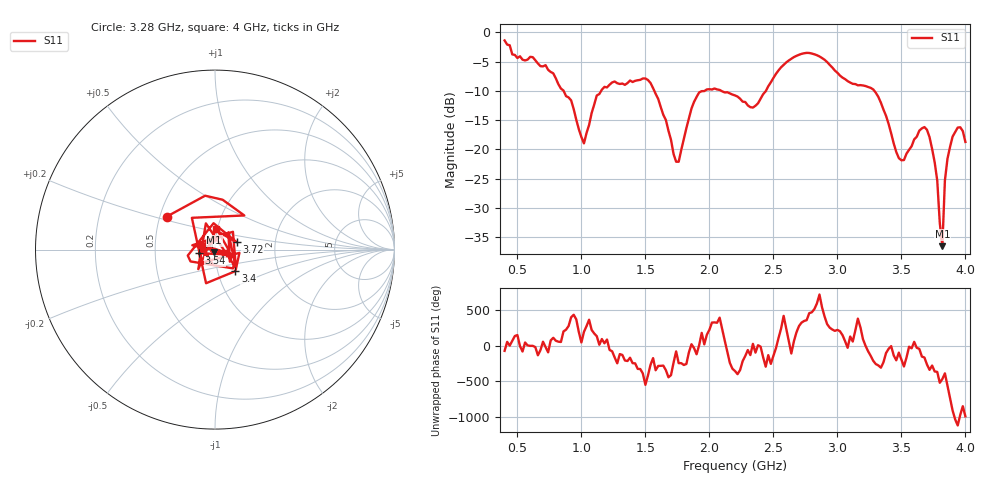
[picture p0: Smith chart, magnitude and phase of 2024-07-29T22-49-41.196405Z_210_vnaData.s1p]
!Created with skrf (http://scikit-rf.org).
# Hz S RI R 50.0
!freq ReS11 ImS11
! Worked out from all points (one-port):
!   181 points, 400 MHz to 4 GHz, reference 50 ohm
!   lowest |S11| = -36.5 dB at 3.82 GHz (marker M1), VSWR 1.03, Z = 49.5 - j1.39 ohm
!   |S11| at or under -10 dB: 1.57 GHz to 1.962 GHz (392.1 MHz wide, 22.2 % of centre); 2.094 GHz to 2.441 GHz (347 MHz wide, 15.3 % of centre); 3.289 GHz to end of sweep (the widest 3 of 4)
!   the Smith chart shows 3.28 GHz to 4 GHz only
!   S11 on the Smith chart (normalised r, x): 3.28 GHz: 0.54, +0.22; 3.4 GHz: 1.22, -0.30; 3.54 GHz: 0.83, -0.03; 3.72 GHz: 1.27, +0.11; 4 GHz: 0.99, +0.23
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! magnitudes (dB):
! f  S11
! 400 MHz  -1.4
! 720 MHz  -5.6
! 860 MHz  -9.9
! 920 MHz  -11.6
! 1.02 GHz  -19.0
! 1.12 GHz  -10.8
! 1.3 GHz  -8.8
! 1.54 GHz  -8.6
! 1.76 GHz  -22.1
! 1.92 GHz  -10.3
! 2.2 GHz  -10.8
! 2.34 GHz  -12.8
! 2.66 GHz  -4.2
! 2.84 GHz  -3.9
! 3.1 GHz  -8.6
! 3.28 GHz  -9.7
! 3.4 GHz  -15.6
! 3.48 GHz  -21.5
! 3.54 GHz  -20.7
! 3.56 GHz  -20.1
! 3.66 GHz  -16.4
! 3.72 GHz  -17.9
! 3.78 GHz  -25.3
! 3.82 GHz  -36.5
! 3.84 GHz  -25.3
! 3.88 GHz  -19.6
! 3.94 GHz  -16.3
! 4 GHz  -18.7
